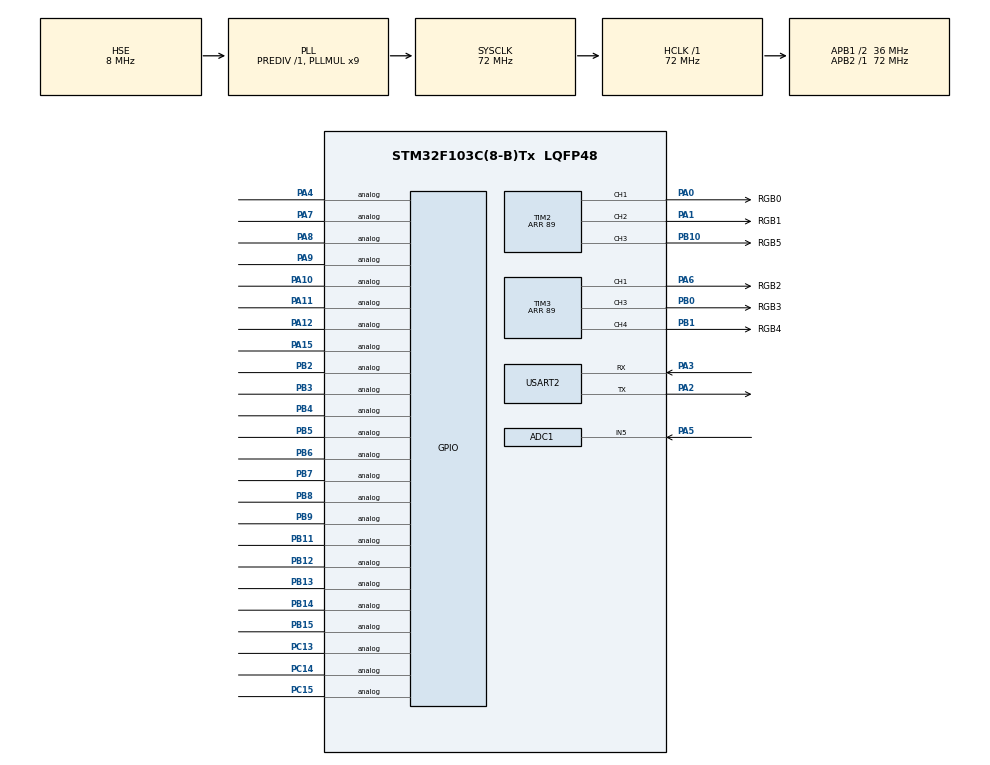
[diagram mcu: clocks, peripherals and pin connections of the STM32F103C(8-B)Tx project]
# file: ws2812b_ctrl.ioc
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ADC1.Channel-0\#ChannelRegularConversion=ADC_CHANNEL_5
ADC1.NbrOfConversionFlag=1
ADC1.Rank-0\#ChannelRegularConversion=1
ADC1.SamplingTime-0\#ChannelRegularConversion=ADC_SAMPLETIME_1CYCLE_5
ADC1.master=1
Dma.MEMTOMEM.0.Direction=DMA_MEMORY_TO_MEMORY
Dma.MEMTOMEM.0.Instance=DMA1_Channel4
Dma.MEMTOMEM.0.MemDataAlignment=DMA_MDATAALIGN_HALFWORD
Dma.MEMTOMEM.0.MemInc=DMA_MINC_ENABLE
Dma.MEMTOMEM.0.Mode=DMA_NORMAL
Dma.MEMTOMEM.0.PeriphDataAlignment=DMA_PDATAALIGN_HALFWORD
Dma.MEMTOMEM.0.PeriphInc=DMA_PINC_ENABLE
Dma.MEMTOMEM.0.Priority=DMA_PRIORITY_MEDIUM
Dma.Request0=MEMTOMEM
Dma.Request1=TIM2_CH1
Dma.Request2=TIM2_CH2/CH4
Dma.Request3=TIM2_CH3
Dma.Request4=TIM3_CH1/TRIG
Dma.Request5=TIM3_CH4/UP
Dma.Request6=TIM3_CH3
Dma.TIM2_CH1.1.Direction=DMA_MEMORY_TO_PERIPH
Dma.TIM2_CH1.1.Instance=DMA1_Channel5
Dma.TIM2_CH1.1.MemDataAlignment=DMA_MDATAALIGN_HALFWORD
Dma.TIM2_CH1.1.MemInc=DMA_MINC_ENABLE
Dma.TIM2_CH1.1.Mode=DMA_NORMAL
Dma.TIM2_CH1.1.PeriphDataAlignment=DMA_PDATAALIGN_HALFWORD
Dma.TIM2_CH1.1.PeriphInc=DMA_PINC_DISABLE
Dma.TIM2_CH1.1.Priority=DMA_PRIORITY_LOW
Dma.TIM2_CH2/CH4.2.Direction=DMA_MEMORY_TO_PERIPH
Dma.TIM2_CH2/CH4.2.Instance=DMA1_Channel7
Dma.TIM2_CH2/CH4.2.MemDataAlignment=DMA_MDATAALIGN_HALFWORD
Dma.TIM2_CH2/CH4.2.MemInc=DMA_MINC_ENABLE
Dma.TIM2_CH2/CH4.2.Mode=DMA_NORMAL
Dma.TIM2_CH2/CH4.2.PeriphDataAlignment=DMA_PDATAALIGN_HALFWORD
Dma.TIM2_CH2/CH4.2.PeriphInc=DMA_PINC_DISABLE
Dma.TIM2_CH2/CH4.2.Priority=DMA_PRIORITY_LOW
Dma.TIM2_CH3.3.Direction=DMA_MEMORY_TO_PERIPH
Dma.TIM2_CH3.3.Instance=DMA1_Channel1
Dma.TIM2_CH3.3.MemDataAlignment=DMA_MDATAALIGN_HALFWORD
Dma.TIM2_CH3.3.MemInc=DMA_MINC_ENABLE
Dma.TIM2_CH3.3.Mode=DMA_NORMAL
Dma.TIM2_CH3.3.PeriphDataAlignment=DMA_PDATAALIGN_HALFWORD
Dma.TIM2_CH3.3.PeriphInc=DMA_PINC_DISABLE
Dma.TIM2_CH3.3.Priority=DMA_PRIORITY_LOW
Dma.TIM3_CH1/TRIG.4.Direction=DMA_MEMORY_TO_PERIPH
Dma.TIM3_CH1/TRIG.4.Instance=DMA1_Channel6
Dma.TIM3_CH1/TRIG.4.MemDataAlignment=DMA_MDATAALIGN_HALFWORD
Dma.TIM3_CH1/TRIG.4.MemInc=DMA_MINC_ENABLE
Dma.TIM3_CH1/TRIG.4.Mode=DMA_NORMAL
Dma.TIM3_CH1/TRIG.4.PeriphDataAlignment=DMA_PDATAALIGN_HALFWORD
Dma.TIM3_CH1/TRIG.4.PeriphInc=DMA_PINC_DISABLE
Dma.TIM3_CH1/TRIG.4.Priority=DMA_PRIORITY_LOW
Dma.TIM3_CH3.6.Direction=DMA_MEMORY_TO_PERIPH
Dma.TIM3_CH3.6.Instance=DMA1_Channel2
Dma.TIM3_CH3.6.MemDataAlignment=DMA_MDATAALIGN_HALFWORD
Dma.TIM3_CH3.6.MemInc=DMA_MINC_ENABLE
Dma.TIM3_CH3.6.Mode=DMA_NORMAL
Dma.TIM3_CH3.6.PeriphDataAlignment=DMA_PDATAALIGN_HALFWORD
Dma.TIM3_CH3.6.PeriphInc=DMA_PINC_DISABLE
Dma.TIM3_CH3.6.Priority=DMA_PRIORITY_LOW
Dma.TIM3_CH4/UP.5.Direction=DMA_MEMORY_TO_PERIPH
Dma.TIM3_CH4/UP.5.Instance=DMA1_Channel3
Dma.TIM3_CH4/UP.5.MemDataAlignment=DMA_MDATAALIGN_HALFWORD
Dma.TIM3_CH4/UP.5.MemInc=DMA_MINC_ENABLE
Dma.TIM3_CH4/UP.5.Mode=DMA_NORMAL
Dma.TIM3_CH4/UP.5.PeriphDataAlignment=DMA_PDATAALIGN_HALFWORD
Dma.TIM3_CH4/UP.5.PeriphInc=DMA_PINC_DISABLE
Dma.TIM3_CH4/UP.5.Priority=DMA_PRIORITY_LOW
Mcu.Family=STM32F1
Mcu.Name=STM32F103C(8-B)Tx
Mcu.Package=LQFP48
NVIC.DMA1_Channel1_IRQn=true\:2\:0\:true\:false\:true\:false\:true\:true
NVIC.DMA1_Channel2_IRQn=true\:2\:0\:true\:false\:true\:false\:true\:true
NVIC.DMA1_Channel3_IRQn=true\:2\:0\:true\:false\:true\:false\:true\:true
NVIC.DMA1_Channel4_IRQn=true\:2\:0\:true\:false\:true\:true\:true\:true
NVIC.DMA1_Channel5_IRQn=true\:2\:0\:true\:false\:true\:false\:true\:true
NVIC.DMA1_Channel6_IRQn=true\:2\:0\:true\:false\:true\:false\:true\:true
NVIC.DMA1_Channel7_IRQn=true\:2\:0\:true\:false\:true\:false\:true\:true
NVIC.PriorityGroup=NVIC_PRIORITYGROUP_4
NVIC.TIM4_IRQn=true\:1\:0\:true\:false\:true\:true\:true\:true
NVIC.USART2_IRQn=true\:0\:0\:true\:false\:true\:true\:true\:true
PA0-WKUP.GPIO_Label=RGB0
PA0-WKUP.GPIO_Speed=GPIO_SPEED_FREQ_HIGH
PA0-WKUP.Signal=S_TIM2_CH1_ETR
PA1.GPIO_Label=RGB1
PA1.GPIO_Speed=GPIO_SPEED_FREQ_HIGH
PA1.Signal=S_TIM2_CH2
PA10.Signal=GPIO_Analog
PA11.Signal=GPIO_Analog
PA12.Signal=GPIO_Analog
PA13.Mode=Serial_Wire
PA13.Signal=SYS_JTMS-SWDIO
PA14.Mode=Serial_Wire
PA14.Signal=SYS_JTCK-SWCLK
PA15.Signal=GPIO_Analog
PA2.Mode=Asynchronous
PA2.Signal=USART2_TX
PA3.Mode=Asynchronous
PA3.Signal=USART2_RX
PA4.GPIO_Mode=GPIO_MODE_ANALOG
PA4.Signal=GPIO_Analog
PA5.Signal=ADCx_IN5
PA6.GPIO_Label=RGB2
PA6.GPIO_Speed=GPIO_SPEED_FREQ_HIGH
PA6.Signal=S_TIM3_CH1
PA7.Signal=GPIO_Analog
PA8.Signal=GPIO_Analog
PA9.Signal=GPIO_Analog
PB0.GPIO_Label=RGB3
PB0.GPIO_Speed=GPIO_SPEED_FREQ_HIGH
PB0.Signal=S_TIM3_CH3
PB1.GPIO_Label=RGB4
PB1.GPIO_Speed=GPIO_SPEED_FREQ_HIGH
PB1.Signal=S_TIM3_CH4
PB10.GPIO_Label=RGB5
PB10.GPIO_Speed=GPIO_SPEED_FREQ_HIGH
PB10.Signal=S_TIM2_CH3
PB11.Signal=GPIO_Analog
PB12.Signal=GPIO_Analog
PB13.Signal=GPIO_Analog
PB14.Signal=GPIO_Analog
PB15.Signal=GPIO_Analog
PB2.Signal=GPIO_Analog
PB3.Signal=GPIO_Analog
PB4.Signal=GPIO_Analog
PB5.Signal=GPIO_Analog
PB6.Signal=GPIO_Analog
PB7.Signal=GPIO_Analog
PB8.Signal=GPIO_Analog
PB9.Signal=GPIO_Analog
PC13-TAMPER-RTC.Signal=GPIO_Analog
PC14-OSC32_IN.Signal=GPIO_Analog
PC15-OSC32_OUT.Signal=GPIO_Analog
PD0-OSC_IN.Mode=HSE-External-Oscillator
PD0-OSC_IN.Signal=RCC_OSC_IN
PD1-OSC_OUT.Mode=HSE-External-Oscillator
PD1-OSC_OUT.Signal=RCC_OSC_OUT
ProjectManager.HeapSize=0x200
ProjectManager.StackSize=0x400
ProjectManager.TargetToolchain=CMake
RCC.ADCPresc=RCC_ADCPCLK2_DIV6
RCC.AHBFreq_Value=72000000
RCC.APB1CLKDivider=RCC_HCLK_DIV2
RCC.APB1Freq_Value=36000000
RCC.APB1TimFreq_Value=72000000
RCC.APB2Freq_Value=72000000
RCC.APB2TimFreq_Value=72000000
RCC.HCLKFreq_Value=72000000
RCC.PLLMUL=RCC_PLL_MUL9
RCC.PLLSourceVirtual=RCC_PLLSOURCE_HSE
RCC.SYSCLKFreq_VALUE=72000000
RCC.SYSCLKSource=RCC_SYSCLKSOURCE_PLLCLK
RCC.USBFreq_Value=72000000
SH.ADCx_IN5.0=ADC1_IN5,IN5
SH.S_TIM2_CH1_ETR.0=TIM2_CH1,PWM Generation1 CH1
SH.S_TIM2_CH2.0=TIM2_CH2,PWM Generation2 CH2
SH.S_TIM2_CH3.0=TIM2_CH3,PWM Generation3 CH3
SH.S_TIM3_CH1.0=TIM3_CH1,PWM Generation1 CH1
SH.S_TIM3_CH3.0=TIM3_CH3,PWM Generation3 CH3
SH.S_TIM3_CH4.0=TIM3_CH4,PWM Generation4 CH4
TIM2.Channel-PWM\ Generation1\ CH1=TIM_CHANNEL_1
TIM2.Channel-PWM\ Generation2\ CH2=TIM_CHANNEL_2
TIM2.Channel-PWM\ Generation3\ CH3=TIM_CHANNEL_3
TIM2.Period=89
TIM3.Channel-PWM\ Generation1\ CH1=TIM_CHANNEL_1
TIM3.Channel-PWM\ Generation3\ CH3=TIM_CHANNEL_3
TIM3.Channel-PWM\ Generation4\ CH4=TIM_CHANNEL_4
TIM3.Period=89
TIM4.Period=9
TIM4.Prescaler=7199
USART2.VirtualMode=VM_ASYNC
VP_TIM2_VS_ClockSourceINT.Mode=Internal
VP_TIM3_VS_ClockSourceINT.Mode=Internal
VP_TIM4_VS_ClockSourceINT.Mode=Internal
board=custom

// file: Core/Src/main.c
/* USER CODE BEGIN Header */
/**
  ******************************************************************************
  * @file           : main.c
  * @brief          : Main program body
  ******************************************************************************
  * @attention
  *
  * Copyright (c) 2026 STMicroelectronics.
  * All rights reserved.
  *
  * This software is licensed under terms that can be found in the LICENSE file
  * in the root directory of this software component.
  * If no LICENSE file comes with this software, it is provided AS-IS.
  *
  ******************************************************************************
  */
/* USER CODE END Header */
#include "main.h"
#include "adc.h"
#include "dma.h"
#include "tim.h"
#include "usart.h"
#include "gpio.h"

/* USER CODE BEGIN Includes */
#include "uart_proto.h"
#include "WS2812B.h"
/* USER CODE END Includes */

void SystemClock_Config(void);

/* USER CODE BEGIN 0 */
void PA5_ADC_AIN_Init(void);
/* USER CODE END 0 */

int main(void)
{

  /* MCU Configuration--------------------------------------------------------*/

  /* Reset of all peripherals, Initializes the Flash interface and the Systick. */
  HAL_Init();

  /* Configure the system clock */
  SystemClock_Config();

  /* Initialize all configured peripherals */
  MX_GPIO_Init();
  MX_DMA_Init();
  MX_TIM2_Init();
  MX_TIM3_Init();
  MX_USART2_UART_Init();
  MX_ADC1_Init();
  MX_TIM4_Init();
  /* USER CODE BEGIN 2 */
  RGB_Srand_Init();
  PA5_ADC_AIN_Init();
  WS2812_Init();
  UART_Manager_Init(&huart2);
  HAL_UARTEx_ReceiveToIdle_IT(uart_manager.uart,uart_manager.temp_buffer,100);
  /* USER CODE END 2 */

  /* Infinite loop */
  while (1)
  {

    /* USER CODE BEGIN 3 */
    rgbStart();
    if(uart_manager.RE){
      uart_manager.RE = 0;
      BufMove(uart_manager.temp_buffer,uart_manager.temp_buffer_len);
    }
    ReceiveBufferParse(Command_HandlingCallback,Position_HandlingCallback);
  }
  /* USER CODE END 3 */
}

void SystemClock_Config(void)
{
  RCC_OscInitTypeDef RCC_OscInitStruct = {0};
  RCC_ClkInitTypeDef RCC_ClkInitStruct = {0};
  RCC_PeriphCLKInitTypeDef PeriphClkInit = {0};

  /** Initializes the RCC Oscillators according to the specified parameters
  * in the RCC_OscInitTypeDef structure.
  */
  RCC_OscInitStruct.OscillatorType = RCC_OSCILLATORTYPE_HSE;
  RCC_OscInitStruct.HSEState = RCC_HSE_ON;
  RCC_OscInitStruct.HSEPredivValue = RCC_HSE_PREDIV_DIV1;
  RCC_OscInitStruct.HSIState = RCC_HSI_ON;
  RCC_OscInitStruct.PLL.PLLState = RCC_PLL_ON;
  RCC_OscInitStruct.PLL.PLLSource = RCC_PLLSOURCE_HSE;
  RCC_OscInitStruct.PLL.PLLMUL = RCC_PLL_MUL9;
  if (HAL_RCC_OscConfig(&RCC_OscInitStruct) != HAL_OK)
  {
    Error_Handler();
  }

  /** Initializes the CPU, AHB and APB buses clocks
  */
  RCC_ClkInitStruct.ClockType = RCC_CLOCKTYPE_HCLK|RCC_CLOCKTYPE_SYSCLK
                              |RCC_CLOCKTYPE_PCLK1|RCC_CLOCKTYPE_PCLK2;
  RCC_ClkInitStruct.SYSCLKSource = RCC_SYSCLKSOURCE_PLLCLK;
  RCC_ClkInitStruct.AHBCLKDivider = RCC_SYSCLK_DIV1;
  RCC_ClkInitStruct.APB1CLKDivider = RCC_HCLK_DIV2;
  RCC_ClkInitStruct.APB2CLKDivider = RCC_HCLK_DIV1;

  if (HAL_RCC_ClockConfig(&RCC_ClkInitStruct, FLASH_LATENCY_2) != HAL_OK)
  {
    Error_Handler();
  }
  PeriphClkInit.PeriphClockSelection = RCC_PERIPHCLK_ADC;
  PeriphClkInit.AdcClockSelection = RCC_ADCPCLK2_DIV6;
  if (HAL_RCCEx_PeriphCLKConfig(&PeriphClkInit) != HAL_OK)
  {
    Error_Handler();
  }
}

/* USER CODE BEGIN 4 */
void PA5_ADC_AIN_Init(void)
{
  __HAL_RCC_GPIOA_CLK_ENABLE();

  GPIO_InitTypeDef GPIO_InitStruct = {0};

  GPIO_InitStruct.Pin = GPIO_PIN_5;
  GPIO_InitStruct.Mode = GPIO_MODE_ANALOG;   // 模拟模式
  GPIO_InitStruct.Pull = GPIO_NOPULL;        // 无上拉无下拉

  HAL_GPIO_Init(GPIOA, &GPIO_InitStruct);
}
/* USER CODE END 4 */

void Error_Handler(void)
{
  __disable_irq();
  while (1)
  {
  }
}
